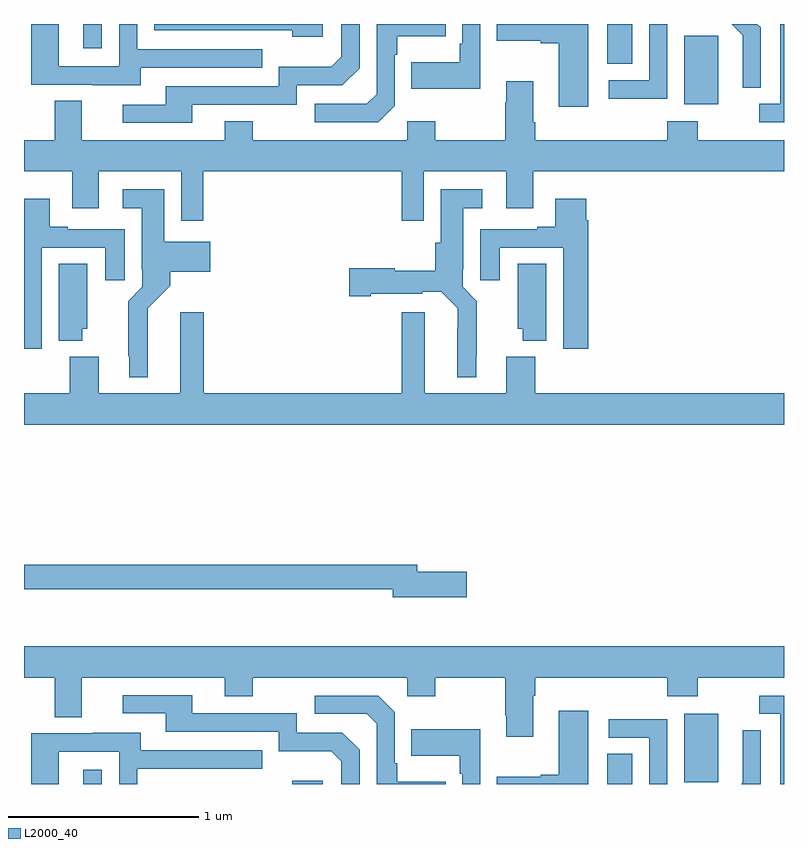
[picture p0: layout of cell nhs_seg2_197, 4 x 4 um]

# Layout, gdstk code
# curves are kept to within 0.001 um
import gdstk
lib = gdstk.Library(unit=1e-6, precision=1e-09)
def R(c, l, rs):  # rectangles x0, y0, x1, y1
    for r in rs: c.add(gdstk.rectangle(r[:2], r[2:], *l))
def P(c, l, *ps):  # polygons
    for p in ps: c.add(gdstk.Polygon(p, *l))
L2000_40 = (2000, 40)

nhs_seg2_197 = lib.new_cell('nhs_seg2_197')
R(nhs_seg2_197, L2000_40, [(121.313,589.8,121.41,589.876), (122.411,589.8,122.572,589.816), (124.07,589.8,124.201,589.958), (124.475,589.809,124.654,590.17), (124.475,593.378,124.654,593.739), (124.07,593.59,124.201,593.8), (121.313,593.673,121.41,593.8)])
P(nhs_seg2_197, L2000_40, [(124.878,593.782),(124.86,593.8),(124.724,593.8),(124.784,593.741),(124.784,593.618),(124.782,593.618),(124.782,593.464),(124.878,593.464)],
  [(123.402,593.8),(123.306,593.8),(123.306,593.695),(123.294,593.695),(123.294,593.599),(123.037,593.599),(123.037,593.459),(123.402,593.459)],
  [(123.97,593.8),(123.489,593.8),(123.489,593.711),(123.719,593.711),(123.719,593.699),(123.815,593.699),(123.815,593.364),(123.97,593.364)],
  [(121.615,593.571),(122.255,593.571),(122.255,593.667),(121.596,593.667),(121.596,593.8),(121.5,593.8),(121.5,593.577),(121.182,593.577),(121.182,593.8),(121.037,593.8),(121.037,593.481),(121.361,593.481),(121.361,593.477),(121.615,593.477)],
  [(125,593.8),(124.979,593.8),(124.979,593.379),(124.869,593.379),(124.869,593.283),(125,593.283)],
  [(122.952,593.37),(122.952,593.639),(122.965,593.639),(122.965,593.735),(123.221,593.735),(123.221,593.8),(122.856,593.8),(122.856,593.43),(122.805,593.379),(122.529,593.379),(122.529,593.283),(122.865,593.283)],
  [(124.386,593.8),(124.29,593.8),(124.29,593.505),(124.077,593.505),(124.077,593.407),(124.386,593.407)],
  [(122.572,593.8),(121.686,593.8),(121.686,593.766),(122.411,593.766),(122.411,593.732),(122.572,593.732)],
  [(121.885,593.376),(122.436,593.376),(122.436,593.478),(122.676,593.478),(122.766,593.568),(122.766,593.8),(122.67,593.8),(122.67,593.628),(122.617,593.575),(122.34,593.575),(122.34,593.472),(121.745,593.472),(121.745,593.376),(121.521,593.376),(121.521,593.28),(121.885,593.28)],
  [(121.943,593.024),(122.989,593.024),(122.989,592.764),(123.105,592.764),(123.105,593.024),(123.539,593.024),(123.539,592.83),(123.679,592.83),(123.679,593.024),(125,593.024),(125,593.188),(124.545,593.188),(124.545,593.287),(124.385,593.287),(124.385,593.188),(123.692,593.188),(123.692,593.284),(123.679,593.284),(123.679,593.5),(123.539,593.5),(123.539,593.387),(123.532,593.387),(123.532,593.188),(123.165,593.188),(123.165,593.287),(123.018,593.287),(123.018,593.188),(122.205,593.188),(122.205,593.287),(122.057,593.287),(122.057,593.188),(121.303,593.188),(121.303,593.396),(121.163,593.396),(121.163,593.188),(121,593.188),(121,593.024),(121.253,593.024),(121.253,592.83),(121.393,592.83),(121.393,593.024),(121.827,593.024),(121.827,592.764),(121.943,592.764)],
  [(121.651,592.304),(121.769,592.422),(121.769,592.496),(121.981,592.496),(121.981,592.654),(121.738,592.654),(121.738,592.93),(121.521,592.93),(121.521,592.829),(121.619,592.829),(121.619,592.51),(121.623,592.51),(121.623,592.416),(121.549,592.342),(121.549,592.051),(121.553,592.051),(121.553,591.941),(121.651,591.941)],
  [(123.379,592.051),(123.383,592.051),(123.383,592.342),(123.309,592.416),(123.309,592.51),(123.313,592.51),(123.313,592.829),(123.412,592.829),(123.412,592.93),(123.194,592.93),(123.194,592.65),(123.164,592.65),(123.164,592.501),(122.952,592.501),(122.952,592.514),(122.712,592.514),(122.712,592.367),(122.824,592.367),(122.824,592.379),(123.096,592.379),(123.096,592.391),(123.195,592.391),(123.282,592.304),(123.281,591.941),(123.379,591.941)],
  [(123.971,592.766),(123.958,592.766),(123.958,592.879),(123.797,592.879),(123.797,592.732),(123.701,592.732),(123.701,592.719),(123.401,592.719),(123.401,592.452),(123.505,592.452),(123.505,592.623),(123.839,592.623),(123.839,592.092),(123.971,592.092)],
  [(121.093,592.623),(121.427,592.623),(121.427,592.452),(121.531,592.452),(121.531,592.719),(121.231,592.719),(121.231,592.732),(121.135,592.732),(121.135,592.879),(121,592.879),(121,592.092),(121.093,592.092)],
  [(123.748,592.538),(123.599,592.538),(123.599,592.197),(123.626,592.197),(123.626,592.133),(123.748,592.133)],
  [(121.306,592.197),(121.333,592.197),(121.333,592.538),(121.184,592.538),(121.184,592.133),(121.306,592.133)],
  [(125,591.856),(123.692,591.856),(123.692,592.048),(123.539,592.048),(123.539,591.856),(123.109,591.856),(123.109,592.282),(122.987,592.282),(122.987,591.856),(121.946,591.856),(121.946,592.282),(121.823,592.282),(121.823,591.856),(121.393,591.856),(121.393,592.048),(121.241,592.048),(121.241,591.856),(121,591.856),(121,591.692),(125,591.692)],
  [(123.331,590.918),(123.07,590.918),(123.07,590.954),(121,590.954),(121,590.826),(122.942,590.826),(122.942,590.783),(123.331,590.783)],
  [(123.679,590.264),(123.692,590.264),(123.692,590.36),(124.385,590.36),(124.385,590.261),(124.545,590.261),(124.545,590.36),(125,590.36),(125,590.524),(121,590.524),(121,590.36),(121.163,590.36),(121.163,590.152),(121.303,590.152),(121.303,590.36),(122.057,590.36),(122.057,590.261),(122.205,590.261),(122.205,590.36),(123.018,590.36),(123.018,590.261),(123.165,590.261),(123.165,590.36),(123.532,590.36),(123.532,590.161),(123.539,590.161),(123.539,590.049),(123.679,590.049)],
  [(122.766,589.98),(122.676,590.07),(122.436,590.07),(122.436,590.172),(121.885,590.172),(121.885,590.268),(121.521,590.268),(121.521,590.172),(121.745,590.172),(121.745,590.076),(122.34,590.076),(122.34,589.973),(122.617,589.973),(122.67,589.92),(122.67,589.8),(122.766,589.8)],
  [(125,590.265),(124.869,590.265),(124.869,590.169),(124.979,590.169),(124.979,589.8),(125,589.8)],
  [(123.221,589.813),(122.965,589.813),(122.965,589.909),(122.952,589.909),(122.952,590.178),(122.865,590.265),(122.529,590.265),(122.529,590.169),(122.805,590.169),(122.856,590.118),(122.856,589.8),(123.221,589.8)],
  [(123.97,590.185),(123.815,590.185),(123.815,589.85),(123.719,589.85),(123.719,589.837),(123.489,589.837),(123.489,589.8),(123.97,589.8)],
  [(124.386,590.142),(124.077,590.142),(124.077,590.043),(124.29,590.043),(124.29,589.8),(124.386,589.8)],
  [(123.402,590.089),(123.037,590.089),(123.037,589.949),(123.294,589.949),(123.294,589.853),(123.306,589.853),(123.306,589.8),(123.402,589.8)],
  [(124.878,590.084),(124.782,590.084),(124.782,589.93),(124.784,589.93),(124.784,589.808),(124.776,589.8),(124.878,589.8)],
  [(121.182,589.971),(121.5,589.971),(121.5,589.8),(121.596,589.8),(121.596,589.881),(122.255,589.881),(122.255,589.977),(121.615,589.977),(121.615,590.071),(121.361,590.071),(121.361,590.067),(121.037,590.067),(121.037,589.8),(121.182,589.8)])

lib.write_gds('nhs_seg2_197.gds')
